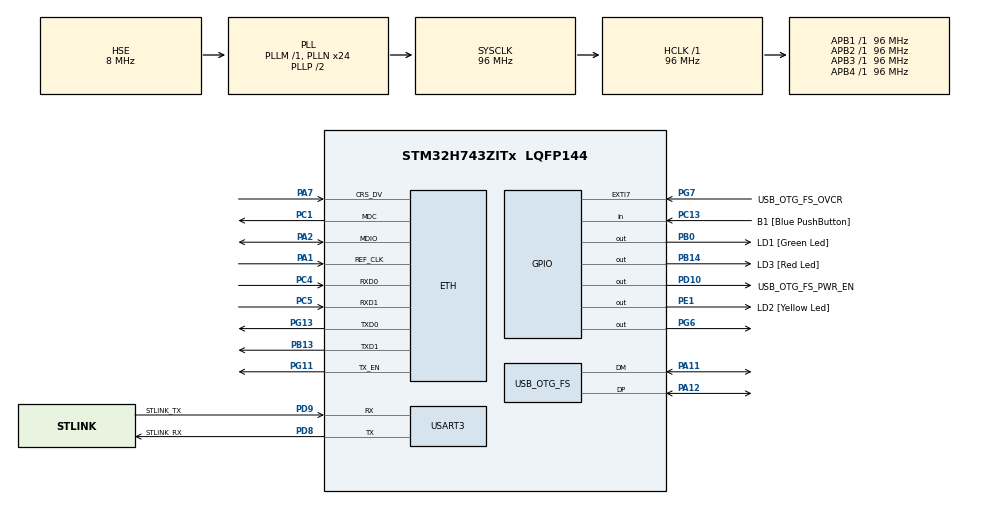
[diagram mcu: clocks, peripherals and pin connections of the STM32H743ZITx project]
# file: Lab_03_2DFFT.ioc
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ETH.MediaInterface=HAL_ETH_RMII_MODE
Mcu.Family=STM32H7
Mcu.Name=STM32H743ZITx
Mcu.Package=LQFP144
NVIC.OTG_FS_IRQn=true\:0\:0\:false\:false\:true\:true\:true
NVIC.PriorityGroup=NVIC_PRIORITYGROUP_4
PA1.Mode=RMII
PA1.Signal=ETH_REF_CLK
PA11.GPIO_Speed=GPIO_SPEED_FREQ_VERY_HIGH
PA11.Mode=Host_Only
PA11.Signal=USB_OTG_FS_DM
PA12.GPIO_Speed=GPIO_SPEED_FREQ_VERY_HIGH
PA12.Mode=Host_Only
PA12.Signal=USB_OTG_FS_DP
PA2.Mode=RMII
PA2.Signal=ETH_MDIO
PA7.Mode=RMII
PA7.Signal=ETH_CRS_DV
PA8.Signal=USB_OTG_FS_SOF
PA9.Signal=USB_OTG_FS_VBUS
PB0.GPIO_Label=LD1 [Green Led]
PB0.Signal=GPIO_Output
PB13.Mode=RMII
PB13.Signal=ETH_TXD1
PB14.GPIO_Label=LD3 [Red Led]
PB14.Signal=GPIO_Output
PC1.Mode=RMII
PC1.Signal=ETH_MDC
PC13.GPIO_Label=B1 [Blue PushButton]
PC13.Signal=GPIO_Input
PC14-OSC32_IN\ (OSC32_IN).Mode=LSE-External-Oscillator
PC14-OSC32_IN\ (OSC32_IN).Signal=RCC_OSC32_IN
PC15-OSC32_OUT\ (OSC32_OUT).Mode=LSE-External-Oscillator
PC15-OSC32_OUT\ (OSC32_OUT).Signal=RCC_OSC32_OUT
PC4.Mode=RMII
PC4.Signal=ETH_RXD0
PC5.Mode=RMII
PC5.Signal=ETH_RXD1
PD10.GPIO_Label=USB_OTG_FS_PWR_EN
PD10.Signal=GPIO_Output
PD8.GPIO_Label=STLINK_RX
PD8.Mode=Asynchronous
PD8.Signal=USART3_TX
PD9.GPIO_Label=STLINK_TX
PD9.Mode=Asynchronous
PD9.Signal=USART3_RX
PE1.GPIO_Label=LD2 [Yellow Led]
PE1.Signal=GPIO_Output
PG11.Mode=RMII
PG11.Signal=ETH_TX_EN
PG13.Mode=RMII
PG13.Signal=ETH_TXD0
PG6.Signal=GPIO_Output
PG7.GPIO_Label=USB_OTG_FS_OVCR
PG7.Signal=GPXTI7
PH0-OSC_IN\ (PH0).Mode=HSE-External-Clock-Source
PH0-OSC_IN\ (PH0).Signal=RCC_OSC_IN
PH1-OSC_OUT\ (PH1).Signal=RCC_OSC_OUT
ProjectManager.HeapSize=0x2000
ProjectManager.StackSize=0x2000
ProjectManager.TargetToolchain=STM32CubeIDE
RCC.ADCFreq_Value=16125000
RCC.APB1Freq_Value=96000000
RCC.APB2Freq_Value=96000000
RCC.APB3Freq_Value=96000000
RCC.APB4Freq_Value=96000000
RCC.CortexFreq_Value=96000000
RCC.DIVM1=1
RCC.DIVN1=24
RCC.DIVQ1=4
RCC.HCLKFreq_Value=96000000
RCC.HSE_VALUE=8000000
RCC.PLLFRACN=0
RCC.SYSCLKFreq_VALUE=96000000
RCC.SYSCLKSource=RCC_SYSCLKSOURCE_PLLCLK
RCC.USBFreq_Value=48000000
USART3.VirtualMode-Asynchronous=VM_ASYNC
USB_HOST.BSP.number=1
USB_HOST.USBH_HandleTypeDef-MSC_FS=hUsbHostFS
USB_HOST.VirtualModeFS=Msc
USB_HOST0.BSP.STBoard=false
USB_HOST0.BSP.api=Unknown
USB_HOST0.BSP.i2caddr=0
USB_HOST0.BSP.instance=PG6
USB_HOST0.BSP.ip=GPIO
USB_HOST0.BSP.mode=Output
USB_HOST0.BSP.name=Drive_VBUS_FS
USB_HOST0.BSP.solution=PG6
USB_OTG_FS.VirtualMode=Host_Only
USB_OTG_FS.phy_itface=HCD_PHY_EMBEDDED
VP_FATFS_VS_USB.Mode=USB
VP_USB_HOST_VS_USB_HOST_MSC_FS.Mode=MSC_FS
board=NUCLEO-H743ZI2

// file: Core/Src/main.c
/* USER CODE BEGIN Header */
/**
  ******************************************************************************
  * @file           : main.c
  * @brief          : Main program body
  ******************************************************************************
  * @attention
  *
  * <h2><center>&copy; Copyright (c) 2020 STMicroelectronics.
  * All rights reserved.</center></h2>
  *
  * This software component is licensed by ST under BSD 3-Clause license,
  * the "License"; You may not use this file except in compliance with the
  * License. You may obtain a copy of the License at:
  *                        opensource.org/licenses/BSD-3-Clause
  *
  ******************************************************************************
  */
/* USER CODE END Header */
#include "main.h"
#include "string.h"
#include "fatfs.h"
#include "usb_host.h"

#if defined ( __ICCARM__ ) /*!< IAR Compiler */

#pragma location=0x30040000
ETH_DMADescTypeDef  DMARxDscrTab[ETH_RX_DESC_CNT]; /* Ethernet Rx DMA Descriptors */
#pragma location=0x30040060
ETH_DMADescTypeDef  DMATxDscrTab[ETH_TX_DESC_CNT]; /* Ethernet Tx DMA Descriptors */
#pragma location=0x30040200
uint8_t Rx_Buff[ETH_RX_DESC_CNT][ETH_MAX_PACKET_SIZE]; /* Ethernet Receive Buffers */

#elif defined ( __CC_ARM )  /* MDK ARM Compiler */

__attribute__((at(0x30040000))) ETH_DMADescTypeDef  DMARxDscrTab[ETH_RX_DESC_CNT]; /* Ethernet Rx DMA Descriptors */
__attribute__((at(0x30040060))) ETH_DMADescTypeDef  DMATxDscrTab[ETH_TX_DESC_CNT]; /* Ethernet Tx DMA Descriptors */
__attribute__((at(0x30040200))) uint8_t Rx_Buff[ETH_RX_DESC_CNT][ETH_MAX_PACKET_SIZE]; /* Ethernet Receive Buffer */

#elif defined ( __GNUC__ ) /* GNU Compiler */

ETH_DMADescTypeDef DMARxDscrTab[ETH_RX_DESC_CNT] __attribute__((section(".RxDecripSection"))); /* Ethernet Rx DMA Descriptors */
ETH_DMADescTypeDef DMATxDscrTab[ETH_TX_DESC_CNT] __attribute__((section(".TxDecripSection")));   /* Ethernet Tx DMA Descriptors */
uint8_t Rx_Buff[ETH_RX_DESC_CNT][ETH_MAX_PACKET_SIZE] __attribute__((section(".RxArraySection"))); /* Ethernet Receive Buffers */

#endif

ETH_TxPacketConfig TxConfig;

ETH_HandleTypeDef heth;

UART_HandleTypeDef huart3;

void SystemClock_Config(void);
static void MX_GPIO_Init(void);
static void MX_ETH_Init(void);
static void MX_USART3_UART_Init(void);
void MX_USB_HOST_Process(void);

/* USER CODE BEGIN PFP */
void 				convert_to_complex(float* input, float* arr, int sample_length);
void 				set_magnitude(float* input, float* output, int length);
void				transpose(float** input, int shape);
/* USER CODE END PFP */

/* USER CODE BEGIN 0 */
#include <arm_math.h>
#include <stdio.h>
#define ARM_MATH_CM7
#define __FPU_PRESENT 1

int file_ready = 0;
extern uint8_t name[10];

float CMPLX_buff_64[128][128];
float transpose_input_mag[64][64];
/* USER CODE END 0 */

int main(void)
{

  /* MCU Configuration--------------------------------------------------------*/

  /* Reset of all peripherals, Initializes the Flash interface and the Systick. */
  HAL_Init();

  /* Configure the system clock */
  SystemClock_Config();

  /* Initialize all configured peripherals */
  MX_GPIO_Init();
  MX_ETH_Init();
  MX_USART3_UART_Init();
  MX_FATFS_Init();
  MX_USB_HOST_Init();
  /* USER CODE BEGIN 2 */
  /* USER CODE BEGIN WHILE */

  /* USER CODE END 2 */

  /* Infinite loop */
  while (1)
  {
  	MX_USB_HOST_Process();

  	/* USER CODE BEGIN 3 */

  	// Grayscale image
  	float img[64][64];
  	// fill the image center (16x16) with ones
  	for (int row=0; row<64; row++)
  		for (int col=0; col<64; col++)
  			img[row][col] = ((row > 23 && row < 40) && (col > 23 && col < 40)) ? 1 : 0;

  	// FFT Instance
  	arm_cfft_instance_f32 fft_handler_64;
  	arm_cfft_init_f32(&fft_handler_64, 64);

  	for (int row=0; row<64; row++)
  	{
  		// Perform row FFT
  		convert_to_complex(img[row], CMPLX_buff_64[row], 64);
  		arm_cfft_f32(&fft_handler_64, CMPLX_buff_64[row], 0, 1);
  	}
  	// Transpose input matrix for column-wise FFT
  	transpose((float**) CMPLX_buff_64, 128);
  	for (int col=0; col<64; col++)
  	{
  		// Perform col FFT
  		arm_cfft_f32(&fft_handler_64, CMPLX_buff_64[col], 0, 1);
  		// Set magnitude of FFT
  		set_magnitude(CMPLX_buff_64[col], transpose_input_mag[col], 64);
  	}
  	// Transpose magnitude matrix
		transpose((float**) transpose_input_mag, 64);

  	sprintf(name,"out.txt");
  	file_ready = 0;
  	write_txt(name);
  	if(file_ready == 1){
  		break;
  	}
    while(1);
  }
  /* USER CODE END 3 */
}

void SystemClock_Config(void)
{
  RCC_OscInitTypeDef RCC_OscInitStruct = {0};
  RCC_ClkInitTypeDef RCC_ClkInitStruct = {0};
  RCC_PeriphCLKInitTypeDef PeriphClkInitStruct = {0};

  /** Supply configuration update enable
  */
  HAL_PWREx_ConfigSupply(PWR_LDO_SUPPLY);
  /** Configure the main internal regulator output voltage
  */
  __HAL_PWR_VOLTAGESCALING_CONFIG(PWR_REGULATOR_VOLTAGE_SCALE3);

  while(!__HAL_PWR_GET_FLAG(PWR_FLAG_VOSRDY)) {}
  /** Initializes the RCC Oscillators according to the specified parameters
  * in the RCC_OscInitTypeDef structure.
  */
  RCC_OscInitStruct.OscillatorType = RCC_OSCILLATORTYPE_HSE;
  RCC_OscInitStruct.HSEState = RCC_HSE_BYPASS;
  RCC_OscInitStruct.PLL.PLLState = RCC_PLL_ON;
  RCC_OscInitStruct.PLL.PLLSource = RCC_PLLSOURCE_HSE;
  RCC_OscInitStruct.PLL.PLLM = 1;
  RCC_OscInitStruct.PLL.PLLN = 24;
  RCC_OscInitStruct.PLL.PLLP = 2;
  RCC_OscInitStruct.PLL.PLLQ = 4;
  RCC_OscInitStruct.PLL.PLLR = 2;
  RCC_OscInitStruct.PLL.PLLRGE = RCC_PLL1VCIRANGE_3;
  RCC_OscInitStruct.PLL.PLLVCOSEL = RCC_PLL1VCOWIDE;
  RCC_OscInitStruct.PLL.PLLFRACN = 0;
  if (HAL_RCC_OscConfig(&RCC_OscInitStruct) != HAL_OK)
  {
    Error_Handler();
  }
  /** Initializes the CPU, AHB and APB buses clocks
  */
  RCC_ClkInitStruct.ClockType = RCC_CLOCKTYPE_HCLK|RCC_CLOCKTYPE_SYSCLK
                              |RCC_CLOCKTYPE_PCLK1|RCC_CLOCKTYPE_PCLK2
                              |RCC_CLOCKTYPE_D3PCLK1|RCC_CLOCKTYPE_D1PCLK1;
  RCC_ClkInitStruct.SYSCLKSource = RCC_SYSCLKSOURCE_PLLCLK;
  RCC_ClkInitStruct.SYSCLKDivider = RCC_SYSCLK_DIV1;
  RCC_ClkInitStruct.AHBCLKDivider = RCC_HCLK_DIV1;
  RCC_ClkInitStruct.APB3CLKDivider = RCC_APB3_DIV1;
  RCC_ClkInitStruct.APB1CLKDivider = RCC_APB1_DIV1;
  RCC_ClkInitStruct.APB2CLKDivider = RCC_APB2_DIV1;
  RCC_ClkInitStruct.APB4CLKDivider = RCC_APB4_DIV1;

  if (HAL_RCC_ClockConfig(&RCC_ClkInitStruct, FLASH_LATENCY_1) != HAL_OK)
  {
    Error_Handler();
  }
  PeriphClkInitStruct.PeriphClockSelection = RCC_PERIPHCLK_USART3|RCC_PERIPHCLK_USB;
  PeriphClkInitStruct.Usart234578ClockSelection = RCC_USART234578CLKSOURCE_D2PCLK1;
  PeriphClkInitStruct.UsbClockSelection = RCC_USBCLKSOURCE_PLL;
  if (HAL_RCCEx_PeriphCLKConfig(&PeriphClkInitStruct) != HAL_OK)
  {
    Error_Handler();
  }
  /** Enable USB Voltage detector
  */
  HAL_PWREx_EnableUSBVoltageDetector();
}

static void MX_ETH_Init(void)
{

  heth.Instance = ETH;
  heth.Init.MACAddr[0] =   0x00;
  heth.Init.MACAddr[1] =   0x80;
  heth.Init.MACAddr[2] =   0xE1;
  heth.Init.MACAddr[3] =   0x00;
  heth.Init.MACAddr[4] =   0x00;
  heth.Init.MACAddr[5] =   0x00;
  heth.Init.MediaInterface = HAL_ETH_RMII_MODE;
  heth.Init.TxDesc = DMATxDscrTab;
  heth.Init.RxDesc = DMARxDscrTab;
  heth.Init.RxBuffLen = 1524;

  if (HAL_ETH_Init(&heth) != HAL_OK)
  {
    Error_Handler();
  }

  memset(&TxConfig, 0 , sizeof(ETH_TxPacketConfig));
  TxConfig.Attributes = ETH_TX_PACKETS_FEATURES_CSUM | ETH_TX_PACKETS_FEATURES_CRCPAD;
  TxConfig.ChecksumCtrl = ETH_CHECKSUM_IPHDR_PAYLOAD_INSERT_PHDR_CALC;
  TxConfig.CRCPadCtrl = ETH_CRC_PAD_INSERT;

}

static void MX_USART3_UART_Init(void)
{

  huart3.Instance = USART3;
  huart3.Init.BaudRate = 115200;
  huart3.Init.WordLength = UART_WORDLENGTH_8B;
  huart3.Init.StopBits = UART_STOPBITS_1;
  huart3.Init.Parity = UART_PARITY_NONE;
  huart3.Init.Mode = UART_MODE_TX_RX;
  huart3.Init.HwFlowCtl = UART_HWCONTROL_NONE;
  huart3.Init.OverSampling = UART_OVERSAMPLING_16;
  huart3.Init.OneBitSampling = UART_ONE_BIT_SAMPLE_DISABLE;
  huart3.Init.ClockPrescaler = UART_PRESCALER_DIV1;
  huart3.AdvancedInit.AdvFeatureInit = UART_ADVFEATURE_NO_INIT;
  if (HAL_UART_Init(&huart3) != HAL_OK)
  {
    Error_Handler();
  }
  if (HAL_UARTEx_SetTxFifoThreshold(&huart3, UART_TXFIFO_THRESHOLD_1_8) != HAL_OK)
  {
    Error_Handler();
  }
  if (HAL_UARTEx_SetRxFifoThreshold(&huart3, UART_RXFIFO_THRESHOLD_1_8) != HAL_OK)
  {
    Error_Handler();
  }
  if (HAL_UARTEx_DisableFifoMode(&huart3) != HAL_OK)
  {
    Error_Handler();
  }

}

static void MX_GPIO_Init(void)
{
  GPIO_InitTypeDef GPIO_InitStruct = {0};

  /* GPIO Ports Clock Enable */
  __HAL_RCC_GPIOC_CLK_ENABLE();
  __HAL_RCC_GPIOH_CLK_ENABLE();
  __HAL_RCC_GPIOA_CLK_ENABLE();
  __HAL_RCC_GPIOB_CLK_ENABLE();
  __HAL_RCC_GPIOD_CLK_ENABLE();
  __HAL_RCC_GPIOG_CLK_ENABLE();
  __HAL_RCC_GPIOE_CLK_ENABLE();

  /*Configure GPIO pin Output Level */
  HAL_GPIO_WritePin(GPIOB, LD1_Pin|LD3_Pin, GPIO_PIN_RESET);

  /*Configure GPIO pin Output Level */
  HAL_GPIO_WritePin(USB_OTG_FS_PWR_EN_GPIO_Port, USB_OTG_FS_PWR_EN_Pin, GPIO_PIN_RESET);

  /*Configure GPIO pin Output Level */
  HAL_GPIO_WritePin(GPIOG, GPIO_PIN_6, GPIO_PIN_RESET);

  /*Configure GPIO pin Output Level */
  HAL_GPIO_WritePin(LD2_GPIO_Port, LD2_Pin, GPIO_PIN_RESET);

  /*Configure GPIO pin : B1_Pin */
  GPIO_InitStruct.Pin = B1_Pin;
  GPIO_InitStruct.Mode = GPIO_MODE_INPUT;
  GPIO_InitStruct.Pull = GPIO_NOPULL;
  HAL_GPIO_Init(B1_GPIO_Port, &GPIO_InitStruct);

  /*Configure GPIO pins : LD1_Pin LD3_Pin */
  GPIO_InitStruct.Pin = LD1_Pin|LD3_Pin;
  GPIO_InitStruct.Mode = GPIO_MODE_OUTPUT_PP;
  GPIO_InitStruct.Pull = GPIO_NOPULL;
  GPIO_InitStruct.Speed = GPIO_SPEED_FREQ_LOW;
  HAL_GPIO_Init(GPIOB, &GPIO_InitStruct);

  /*Configure GPIO pin : USB_OTG_FS_PWR_EN_Pin */
  GPIO_InitStruct.Pin = USB_OTG_FS_PWR_EN_Pin;
  GPIO_InitStruct.Mode = GPIO_MODE_OUTPUT_PP;
  GPIO_InitStruct.Pull = GPIO_NOPULL;
  GPIO_InitStruct.Speed = GPIO_SPEED_FREQ_LOW;
  HAL_GPIO_Init(USB_OTG_FS_PWR_EN_GPIO_Port, &GPIO_InitStruct);

  /*Configure GPIO pin : PG6 */
  GPIO_InitStruct.Pin = GPIO_PIN_6;
  GPIO_InitStruct.Mode = GPIO_MODE_OUTPUT_PP;
  GPIO_InitStruct.Pull = GPIO_NOPULL;
  GPIO_InitStruct.Speed = GPIO_SPEED_FREQ_LOW;
  HAL_GPIO_Init(GPIOG, &GPIO_InitStruct);

  /*Configure GPIO pin : USB_OTG_FS_OVCR_Pin */
  GPIO_InitStruct.Pin = USB_OTG_FS_OVCR_Pin;
  GPIO_InitStruct.Mode = GPIO_MODE_IT_RISING;
  GPIO_InitStruct.Pull = GPIO_NOPULL;
  HAL_GPIO_Init(USB_OTG_FS_OVCR_GPIO_Port, &GPIO_InitStruct);

  /*Configure GPIO pin : LD2_Pin */
  GPIO_InitStruct.Pin = LD2_Pin;
  GPIO_InitStruct.Mode = GPIO_MODE_OUTPUT_PP;
  GPIO_InitStruct.Pull = GPIO_NOPULL;
  GPIO_InitStruct.Speed = GPIO_SPEED_FREQ_LOW;
  HAL_GPIO_Init(LD2_GPIO_Port, &GPIO_InitStruct);

}

/* USER CODE BEGIN 4 */
void convert_to_complex(float* input, float* output, int sample_length)
{
	for (int i=0; i<sample_length; i++)
	{
		output[2*i]=input[i];
	}
}

void set_magnitude(float* input, float* output, int length)
{
	// Set magnitude of fft
	for (int i=0; i<length; i++)
	{
		output[i]=sqrtf(powf(input[2*i],2)+powf(input[2*i+1],2));
	}
}

void transpose(float** input, int shape)
{
	// Copy of input matrix
	float copy[shape][shape];
	// Copy the input elements
	for (int row=0; row<shape; row++)
	{
		for (int col=0; col<shape; col++)
		{
			copy[row][col]=input[row][col];
		}
	}
	// Transpose operation
	for (int row=0; row<shape; row++)
	{
		for (int col=0; col<shape; col++)
		{
			input[row][col]=copy[col][row];
		}
	}
}

int _write(int file, char *ptr, int len)
{
  /* Implement your write code here, this is used by puts and printf for example */
  int i=0;
  for(i=0 ; i<len ; i++)
    ITM_SendChar((*ptr++));
  return len;
}
/* USER CODE END 4 */

void Error_Handler(void)
{
  /* USER CODE BEGIN Error_Handler_Debug */
  /* User can add his own implementation to report the HAL error return state */
  HAL_GPIO_WritePin(GPIOB, LD3_Pin, GPIO_PIN_SET);
  /* USER CODE END Error_Handler_Debug */
}

/************************ (C) COPYRIGHT STMicroelectronics *****END OF FILE****/
